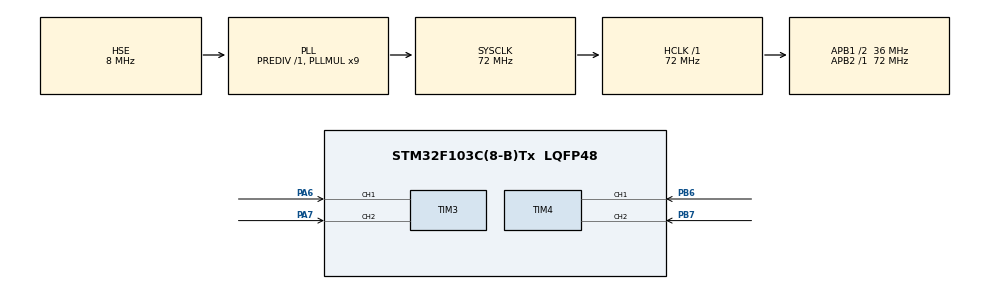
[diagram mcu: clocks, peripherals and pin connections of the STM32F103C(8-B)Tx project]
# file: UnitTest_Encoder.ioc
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Mcu.Family=STM32F1
Mcu.Name=STM32F103C(8-B)Tx
Mcu.Package=LQFP48
NVIC.PriorityGroup=NVIC_PRIORITYGROUP_4
NVIC.TIM3_IRQn=true\:0\:0\:false\:false\:true\:true\:true\:true
NVIC.TIM4_IRQn=true\:0\:0\:false\:false\:true\:true\:true\:true
PA13.Mode=Serial_Wire
PA13.Signal=SYS_JTMS-SWDIO
PA14.Mode=Serial_Wire
PA14.Signal=SYS_JTCK-SWCLK
PA6.Signal=S_TIM3_CH1
PA7.Signal=S_TIM3_CH2
PB6.Signal=S_TIM4_CH1
PB7.Signal=S_TIM4_CH2
PD0-OSC_IN.Mode=HSE-External-Oscillator
PD0-OSC_IN.Signal=RCC_OSC_IN
PD1-OSC_OUT.Mode=HSE-External-Oscillator
PD1-OSC_OUT.Signal=RCC_OSC_OUT
ProjectManager.HeapSize=0x200
ProjectManager.StackSize=0x400
ProjectManager.TargetToolchain=STM32CubeIDE
RCC.AHBFreq_Value=72000000
RCC.APB1CLKDivider=RCC_HCLK_DIV2
RCC.APB1Freq_Value=36000000
RCC.APB1TimFreq_Value=72000000
RCC.APB2Freq_Value=72000000
RCC.APB2TimFreq_Value=72000000
RCC.HCLKFreq_Value=72000000
RCC.PLLMUL=RCC_PLL_MUL9
RCC.PLLSourceVirtual=RCC_PLLSOURCE_HSE
RCC.SYSCLKFreq_VALUE=72000000
RCC.SYSCLKSource=RCC_SYSCLKSOURCE_PLLCLK
RCC.USBFreq_Value=72000000
SH.S_TIM3_CH1.0=TIM3_CH1,Encoder_Interface
SH.S_TIM3_CH2.0=TIM3_CH2,Encoder_Interface
SH.S_TIM4_CH1.0=TIM4_CH1,Encoder_Interface
SH.S_TIM4_CH2.0=TIM4_CH2,Encoder_Interface
TIM3.EncoderMode=TIM_ENCODERMODE_TI12
TIM4.EncoderMode=TIM_ENCODERMODE_TI12
board=custom

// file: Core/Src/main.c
/* USER CODE BEGIN Header */
/**
  ******************************************************************************
  * @file           : main.c
  * @brief          : Main program body
  ******************************************************************************
  * @attention
  *
  * Copyright (c) 2023 STMicroelectronics.
  * All rights reserved.
  *
  * This software is licensed under terms that can be found in the LICENSE file
  * in the root directory of this software component.
  * If no LICENSE file comes with this software, it is provided AS-IS.
  *
  ******************************************************************************
  */
/* USER CODE END Header */
#include "main.h"

/* USER CODE BEGIN Includes */
#include "Encoder.h"
#include "stdlib.h"
/* USER CODE END Includes */

/* USER CODE BEGIN PM */
/*-----------------------------Begin:BLDC Macro-------------------------------*/
#define _BLDCEncoderPerRound 				  200
#define _BLDCGearRatio 						  2.5
#define _BLDCDeltaT							0.001
/*-----------------------------End:BLDC Macro---------------------------------*/

/*-----------------------------Begin:DC Macro---------------------------------*/
#define DCDeltaT 							0.001
#define DCEncoderPerRound 					 1000
#define DCGearRatio 						3.535
/*-----------------------------End:DC Macro-----------------------------------*/

/* USER CODE END PM */

TIM_HandleTypeDef htim3;
TIM_HandleTypeDef htim4;

/* USER CODE BEGIN PV */
EncoderRead ENC_BLDC;
EncoderRead ENC_DC;
/* USER CODE END PV */

void SystemClock_Config(void);
static void MX_GPIO_Init(void);
static void MX_TIM3_Init(void);
static void MX_TIM4_Init(void);

int main(void)
{

  /* MCU Configuration--------------------------------------------------------*/

  /* Reset of all peripherals, Initializes the Flash interface and the Systick. */
  HAL_Init();

  /* Configure the system clock */
  SystemClock_Config();

  /* Initialize all configured peripherals */
  MX_GPIO_Init();
  MX_TIM3_Init();
  MX_TIM4_Init();
  /* USER CODE BEGIN 2 */
  HAL_TIM_Encoder_Start_IT(&htim3, TIM_CHANNEL_ALL);
  HAL_TIM_Encoder_Start_IT(&htim4, TIM_CHANNEL_ALL);

  EncoderSetting(&ENC_BLDC, &htim4, _BLDCEncoderPerRound*_BLDCGearRatio, _BLDCDeltaT);
  EncoderSetting(&ENC_DC, &htim3, DCEncoderPerRound, DCDeltaT);
  /* USER CODE END 2 */

  /* Infinite loop */
  /* USER CODE BEGIN WHILE */
  while (1)
  {
	  SpeedReadNonReset(&ENC_BLDC);
	  SpeedReadNonReset(&ENC_DC);
    /* USER CODE END WHILE */

  }
}

void SystemClock_Config(void)
{
  RCC_OscInitTypeDef RCC_OscInitStruct = {0};
  RCC_ClkInitTypeDef RCC_ClkInitStruct = {0};

  /** Initializes the RCC Oscillators according to the specified parameters
  * in the RCC_OscInitTypeDef structure.
  */
  RCC_OscInitStruct.OscillatorType = RCC_OSCILLATORTYPE_HSE;
  RCC_OscInitStruct.HSEState = RCC_HSE_ON;
  RCC_OscInitStruct.HSEPredivValue = RCC_HSE_PREDIV_DIV1;
  RCC_OscInitStruct.HSIState = RCC_HSI_ON;
  RCC_OscInitStruct.PLL.PLLState = RCC_PLL_ON;
  RCC_OscInitStruct.PLL.PLLSource = RCC_PLLSOURCE_HSE;
  RCC_OscInitStruct.PLL.PLLMUL = RCC_PLL_MUL9;
  if (HAL_RCC_OscConfig(&RCC_OscInitStruct) != HAL_OK)
  {
    Error_Handler();
  }

  /** Initializes the CPU, AHB and APB buses clocks
  */
  RCC_ClkInitStruct.ClockType = RCC_CLOCKTYPE_HCLK|RCC_CLOCKTYPE_SYSCLK
                              |RCC_CLOCKTYPE_PCLK1|RCC_CLOCKTYPE_PCLK2;
  RCC_ClkInitStruct.SYSCLKSource = RCC_SYSCLKSOURCE_PLLCLK;
  RCC_ClkInitStruct.AHBCLKDivider = RCC_SYSCLK_DIV1;
  RCC_ClkInitStruct.APB1CLKDivider = RCC_HCLK_DIV2;
  RCC_ClkInitStruct.APB2CLKDivider = RCC_HCLK_DIV1;

  if (HAL_RCC_ClockConfig(&RCC_ClkInitStruct, FLASH_LATENCY_2) != HAL_OK)
  {
    Error_Handler();
  }
}

static void MX_TIM3_Init(void)
{

  TIM_Encoder_InitTypeDef sConfig = {0};
  TIM_MasterConfigTypeDef sMasterConfig = {0};

  htim3.Instance = TIM3;
  htim3.Init.Prescaler = 0;
  htim3.Init.CounterMode = TIM_COUNTERMODE_UP;
  htim3.Init.Period = 65535;
  htim3.Init.ClockDivision = TIM_CLOCKDIVISION_DIV1;
  htim3.Init.AutoReloadPreload = TIM_AUTORELOAD_PRELOAD_DISABLE;
  sConfig.EncoderMode = TIM_ENCODERMODE_TI12;
  sConfig.IC1Polarity = TIM_ICPOLARITY_RISING;
  sConfig.IC1Selection = TIM_ICSELECTION_DIRECTTI;
  sConfig.IC1Prescaler = TIM_ICPSC_DIV1;
  sConfig.IC1Filter = 0;
  sConfig.IC2Polarity = TIM_ICPOLARITY_RISING;
  sConfig.IC2Selection = TIM_ICSELECTION_DIRECTTI;
  sConfig.IC2Prescaler = TIM_ICPSC_DIV1;
  sConfig.IC2Filter = 0;
  if (HAL_TIM_Encoder_Init(&htim3, &sConfig) != HAL_OK)
  {
    Error_Handler();
  }
  sMasterConfig.MasterOutputTrigger = TIM_TRGO_RESET;
  sMasterConfig.MasterSlaveMode = TIM_MASTERSLAVEMODE_DISABLE;
  if (HAL_TIMEx_MasterConfigSynchronization(&htim3, &sMasterConfig) != HAL_OK)
  {
    Error_Handler();
  }

}

static void MX_TIM4_Init(void)
{

  TIM_Encoder_InitTypeDef sConfig = {0};
  TIM_MasterConfigTypeDef sMasterConfig = {0};

  htim4.Instance = TIM4;
  htim4.Init.Prescaler = 0;
  htim4.Init.CounterMode = TIM_COUNTERMODE_UP;
  htim4.Init.Period = 65535;
  htim4.Init.ClockDivision = TIM_CLOCKDIVISION_DIV1;
  htim4.Init.AutoReloadPreload = TIM_AUTORELOAD_PRELOAD_DISABLE;
  sConfig.EncoderMode = TIM_ENCODERMODE_TI12;
  sConfig.IC1Polarity = TIM_ICPOLARITY_RISING;
  sConfig.IC1Selection = TIM_ICSELECTION_DIRECTTI;
  sConfig.IC1Prescaler = TIM_ICPSC_DIV1;
  sConfig.IC1Filter = 0;
  sConfig.IC2Polarity = TIM_ICPOLARITY_RISING;
  sConfig.IC2Selection = TIM_ICSELECTION_DIRECTTI;
  sConfig.IC2Prescaler = TIM_ICPSC_DIV1;
  sConfig.IC2Filter = 0;
  if (HAL_TIM_Encoder_Init(&htim4, &sConfig) != HAL_OK)
  {
    Error_Handler();
  }
  sMasterConfig.MasterOutputTrigger = TIM_TRGO_RESET;
  sMasterConfig.MasterSlaveMode = TIM_MASTERSLAVEMODE_DISABLE;
  if (HAL_TIMEx_MasterConfigSynchronization(&htim4, &sMasterConfig) != HAL_OK)
  {
    Error_Handler();
  }

}

static void MX_GPIO_Init(void)
{

  /* GPIO Ports Clock Enable */
  __HAL_RCC_GPIOD_CLK_ENABLE();
  __HAL_RCC_GPIOA_CLK_ENABLE();
  __HAL_RCC_GPIOB_CLK_ENABLE();

}

void Error_Handler(void)
{
  __disable_irq();
  while (1)
  {
  }
}
